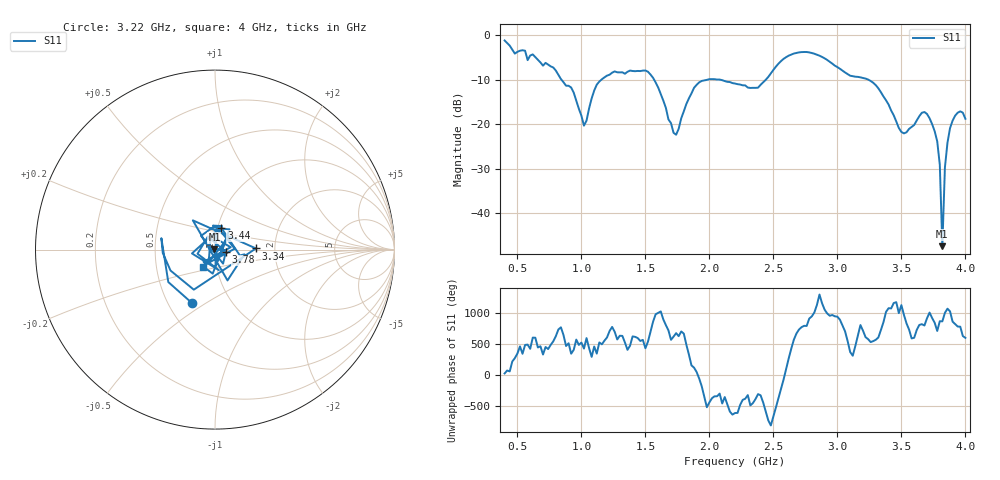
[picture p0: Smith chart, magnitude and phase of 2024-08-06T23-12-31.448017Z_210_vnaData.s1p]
!Created with skrf (http://scikit-rf.org).
# Hz S RI R 50.0
!freq ReS11 ImS11
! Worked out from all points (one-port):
!   181 points, 400 MHz to 4 GHz, reference 50 ohm
!   lowest |S11| = -47.4 dB at 3.82 GHz (marker M1), VSWR 1.01, Z = 49.7 + j0.27 ohm
!   |S11| at or under -10 dB: 1.568 GHz to 1.986 GHz (418.4 MHz wide, 23.5 % of centre); 2.083 GHz to 2.441 GHz (358.5 MHz wide, 15.9 % of centre); 3.241 GHz to end of sweep (the widest 3 of 4)
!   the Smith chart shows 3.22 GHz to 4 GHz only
!   S11 on the Smith chart (normalised r, x): 3.22 GHz: 0.66, -0.44; 3.34 GHz: 1.59, +0.02; 3.44 GHz: 1.04, +0.26; 3.78 GHz: 1.13, -0.03; 4 GHz: 0.86, -0.17
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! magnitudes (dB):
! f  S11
! 400 MHz  -1.2
! 860 MHz  -10.6
! 940 MHz  -12.9
! 1.02 GHz  -20.3
! 1.12 GHz  -11.1
! 1.3 GHz  -8.4
! 1.52 GHz  -8.2
! 1.6 GHz  -11.8
! 1.72 GHz  -22.0
! 1.76 GHz  -21.0
! 1.92 GHz  -10.6
! 2.2 GHz  -10.9
! 2.38 GHz  -11.8
! 2.66 GHz  -4.1
! 3.1 GHz  -9.1
! 3.22 GHz  -9.8
! 3.34 GHz  -12.8
! 3.44 GHz  -18.0
! 3.5 GHz  -21.8
! 3.56 GHz  -21.1
! 3.68 GHz  -17.3
! 3.78 GHz  -23.9
! 3.8 GHz  -29.1
! 3.82 GHz  -47.4
! 3.84 GHz  -29.7
! 3.88 GHz  -20.9
! 3.94 GHz  -17.4
! 4 GHz  -18.8
